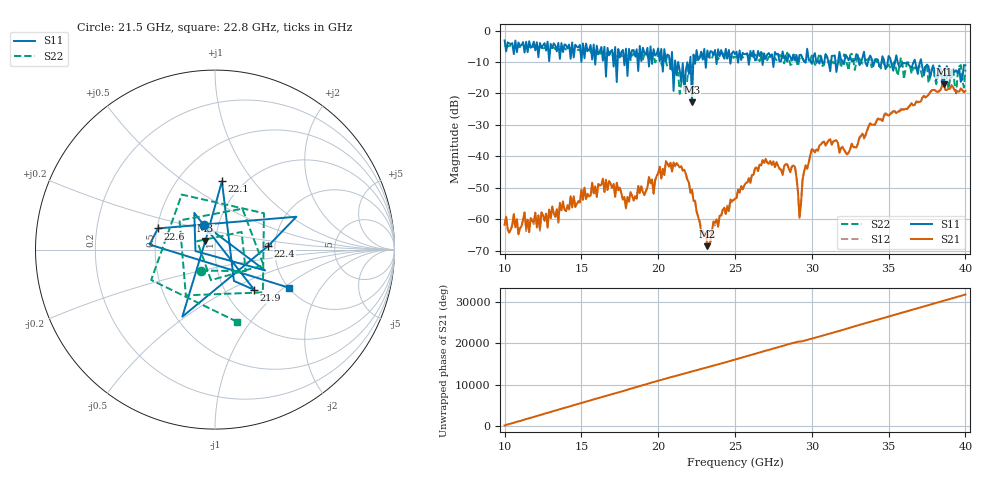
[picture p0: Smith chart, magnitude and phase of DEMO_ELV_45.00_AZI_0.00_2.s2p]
! 11/3/2026 12:28:04 PM
! C:\ANRITSUVNA\TEMP\TEMP.S2P
! CHANNEL.1
! TR.MEASUREMENT
! RAW.DATA
# HZ S RI R 50.0
! FREQ.HZ  S11RE  S11IM  S21RE  S21IM  S12RE  S12IM  S22RE  S22IM
!; PortSelection: Port_12
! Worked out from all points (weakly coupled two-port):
!   301 points, 10 GHz to 40 GHz, reference 50 ohm
!   highest |S21| = -17.08 dB at 38.6 GHz (marker M1); lowest = -68.5 dB at 23.2 GHz (marker M2)
!   lowest |S11| = -22.8 dB at 22.2 GHz (marker M3), VSWR 1.16, Z = 44.7 + j4.44 ohm
!   |S11| at or under -10 dB: 21.3 GHz to 22.07 GHz (768.7 MHz wide, 3.55 % of centre); 35.59 GHz to 36.63 GHz (1.035 GHz wide, 2.87 % of centre); 37.13 GHz to end of sweep (the widest 3 of 41)
!   |S22| runs from -20.1 to -4.7 dB; largest |S21 - S12| = 0.17
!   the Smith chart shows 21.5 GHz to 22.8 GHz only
!   S11 on the Smith chart (normalised r, x): 21.5 GHz: 0.85, +0.24; 21.9 GHz: 1.37, -0.68; 22.1 GHz: 0.80, +0.71; 22.4 GHz: 1.84, +0.08; 22.6 GHz: 0.51, +0.13; 22.8 GHz: 2.01, -1.08
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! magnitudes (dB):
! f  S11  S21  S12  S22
! 10 GHz  -3.1  -61.7  -62.0  -4.7
! 15 GHz  -10.0  -50.5  -50.7  -6.5
! 17.2 GHz  -5.2  -52.8  -52.7  -7.8
! 17.3 GHz  -16.4  -48.4  -48.3  -8.5
! 17.9 GHz  -5.7  -56.5  -56.3  -7.3
! 20 GHz  -5.7  -45.4  -45.5  -7.8
! 21.5 GHz  -16.3  -43.1  -43.2  -17.0
! 21.9 GHz  -10.1  -47.3  -47.6  -15.3
! 22.1 GHz  -8.3  -51.6  -51.0  -11.2
! 22.2 GHz  -22.8  -50.6  -50.9  -11.8
! 22.3 GHz  -7.6  -54.1  -54.0  -10.4
! 22.4 GHz  -10.5  -54.2  -54.0  -8.9
! 22.6 GHz  -9.4  -59.2  -58.9  -8.9
! 22.8 GHz  -6.7  -63.8  -63.3  -7.6
! 23.2 GHz  -6.3  -68.5  -67.5  -7.3
! 25 GHz  -7.5  -53.4  -53.4  -8.3
! 28.9 GHz  -9.5  -43.3  -43.1  -7.8
! 29.2 GHz  -7.8  -59.5  -59.6  -9.0
! 30 GHz  -10.6  -37.7  -37.8  -7.9
! 35 GHz  -8.1  -27.0  -26.9  -10.9
! 38.6 GHz  -16.8  -17.1  -17.1  -15.2
! 40 GHz  -11.1  -19.2  -19.2  -12.4
